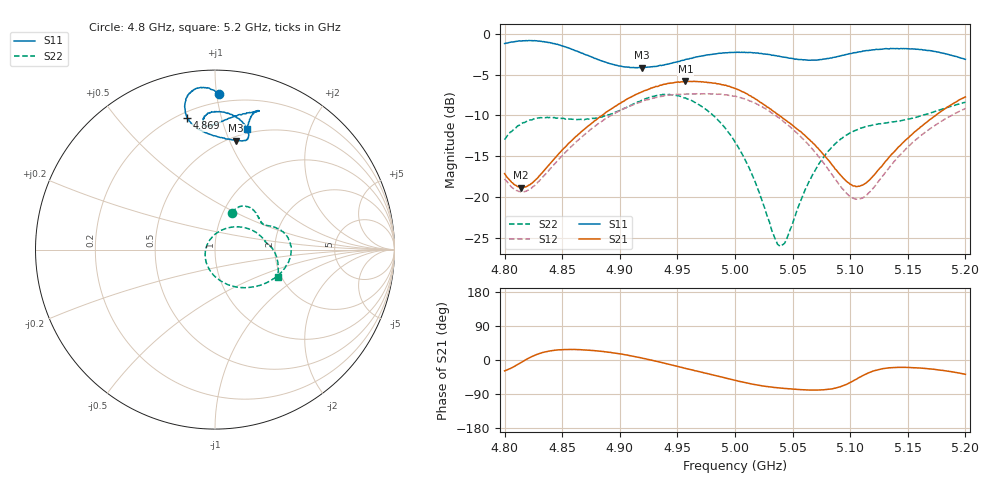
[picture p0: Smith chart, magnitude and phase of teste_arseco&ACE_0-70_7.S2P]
! Network Analyzer HP8722D
! Hewlett-Packard
! Data name: Linha & Wilkinson
! Saver's name: Rodrigo Anjos
! Comments: Teste da utilização de aquisição
! continua pelo VNA HP8722D
! Time and date: 8/5/2025 12:49
!  Frequency  S11  S21  S12  S22
# HZ  S  MA R 50
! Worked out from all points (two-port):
!   401 points, 4.8 GHz to 5.2 GHz, reference 50 ohm
!   highest |S21| = -5.84 dB at 4.957 GHz (marker M1); lowest = -18.8 dB at 4.814 GHz (marker M2)
!   |S21| within 3 dB of the highest: 4.897 GHz to 5.027 GHz (130 MHz wide, 2.62 % of centre); 5.186129 GHz to end of sweep
!   lowest |S11| = -4.2 dB at 4.919 GHz (marker M3), VSWR 4.24, Z = 26.9 + j53 ohm
!   |S11| at or under -10 dB: nowhere
!   |S22| runs from -26.0 to -7.4 dB; largest |S21 - S12| = 0.88
!   S11 on the Smith chart (normalised r, x): 4.8 GHz: 0.14, +1.01; 4.869 GHz: 0.23, +0.78; 5.2 GHz: 0.46, +1.20
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4.8e9  0.8696 88.7  0.1394 -28.7  0.1294 99.8  0.2248 65.5
4.814e9  0.9005 92.9  0.1146 -7.2  0.1077 118.4  0.2796 59.4
4.843e9  0.87 100.3  0.1716 25.5  0.1587 150.1  0.3071 41.8
4.867e9  0.7594 102.0  0.2527 26.9  0.2337 154.7  0.2984 31.2
4.869e9  0.7498 102.0  0.2596 26.6  0.2403 154.6  0.2972 30.5
4.894e9  0.6483 93.7  0.3512 19.0  0.3212 149.7  0.326 24.1
4.919e9  0.6185 79.0  0.4401 5.4  0.3839 139.5  0.3913 14.8
4.934e9  0.6365 74.0  0.4793 -4.9  0.412 131.2  0.4199 4.9
4.957e9  0.6952 75.0  0.5107 -22.0  0.4265 116.6  0.4043 -14.4
4.981e9  0.7487 81.2  0.498 -39.6  0.4286 101.3  0.3164 -39.4
5e9  0.7684 87.6  0.4622 -53.6  0.4147 87.9  0.2174 -66.6
5.02e9  0.7614 93.0  0.389 -66.2  0.3683 74.4  0.1114 -107.8
5.034e9  0.7352 94.9  0.3326 -72.6  0.3199 66.9  0.05754 -161.5
5.039e9  0.7247 95.3  0.3136 -73.9  0.3017 64.6  0.05021 166.6
5.045e9  0.7147 95.4  0.2924 -75.6  0.2793 62.3  0.05592 128.9
5.067e9  0.6884 93.0  0.2171 -79.2  0.1976 58.6  0.1358 61.5
5.084e9  0.7095 87.5  0.1586 -76.3  0.1383 63.5  0.2016 37.6
5.104e9  0.7652 79.4  0.1173 -52.6  0.0975 90.2  0.2553 20.0
5.115e9  0.7872 75.8  0.1243 -35.2  0.1042 110.1  0.2722 14.0
5.134e9  0.8061 72.7  0.1764 -20.5  0.152 126.2  0.2867 8.1
5.17e9  0.7862 74.4  0.3007 -23.8  0.2643 122.0  0.3281 -1.2
5.2e9  0.6962 75.0  0.4101 -37.7  0.349 110.5  0.3806 -23.8
